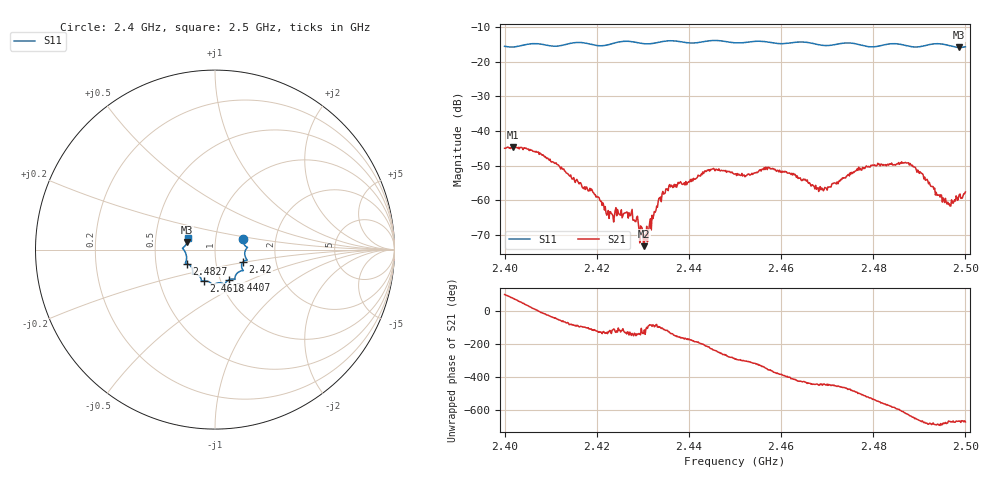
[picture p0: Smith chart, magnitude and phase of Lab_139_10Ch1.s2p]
# Hz S RI R 50
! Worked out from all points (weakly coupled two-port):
!   601 points, 2.4 GHz to 2.5 GHz, reference 50 ohm
!   highest |S21| = -44.62 dB at 2.4018 GHz (marker M1); lowest = -73.2 dB at 2.4302 GHz (marker M2)
!   lowest |S11| = -15.9 dB at 2.4987 GHz (marker M3), VSWR 1.38, Z = 36.5 + j3.23 ohm
!   |S11| at or under -10 dB: start of sweep to end of sweep
!   S12 and S22 are empty: the file has one direction only
!   S11 on the Smith chart (normalised r, x): 2.4 GHz: 1.35, +0.17; 2.42 GHz: 1.35, -0.19; 2.4407 GHz: 1.10, -0.38; 2.4618 GHz: 0.83, -0.30; 2.4827 GHz: 0.72, -0.12; 2.5 GHz: 0.73, +0.09
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2.4e9  0.1545 0.0613  -0.000688 0.0056  0 0  0 0
2.401833e9  0.1582 0.0376  0.00164 0.00564  0 0  0 0
2.407833e9  0.1785 0.0101  0.00461 -0.00093  0 0  0 0
2.416667e9  0.1789 -0.0588  -0.000181 -0.00168  0 0  0 0
2.42e9  0.1562 -0.069  -0.000643 -0.000945  0 0  0 0
2.423167e9  0.1491 -0.1014  -0.000483 -0.000428  0 0  0 0
2.427167e9  0.1566 -0.117  -0.000386 -0.000463  0 0  0 0
2.430167e9  0.1323 -0.1245  -0.000163 -0.000147  0 0  0 0
2.433333e9  0.1116 -0.1528  -0.000106 -0.000963  0 0  0 0
2.435667e9  0.1117 -0.1657  -0.000994 -0.0013  0 0  0 0
2.440667e9  0.0792 -0.1676  -0.00203 8.02e-06  0 0  0 0
2.444833e9  0.054 -0.1935  -0.00177 0.00213  0 0  0 0
2.45e9  0.027 -0.1847  0.000966 0.00221  0 0  0 0
2.461833e9  -0.0616 -0.1748  0.00184 -0.00168  0 0  0 0
2.466667e9  -0.0758 -0.1681  0.000241 -0.00165  0 0  0 0
2.4695e9  -0.0906 -0.1443  0.000111 -0.00154  0 0  0 0
2.482667e9  -0.1582 -0.0779  -0.00298 0.00139  0 0  0 0
2.483333e9  -0.1621 -0.0768  -0.00273 0.00171  0 0  0 0
2.4885e9  -0.158 -0.0422  0.000802 0.00312  0 0  0 0
2.496333e9  -0.1708 0.0167  0.000526 0.000695  0 0  0 0
2.498667e9  -0.1541 0.0431  0.000753 0.000945  0 0  0 0
2.5e9  -0.151 0.0631  0.000895 0.000976  0 0  0 0
